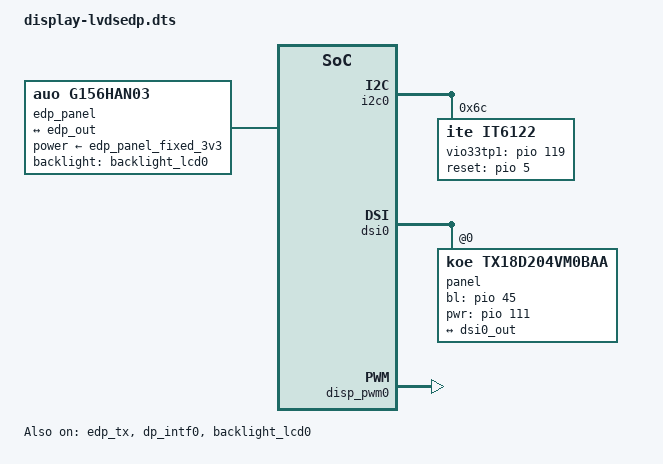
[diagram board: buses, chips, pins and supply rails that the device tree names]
/dts-v1/;
/plugin/;

#include <dt-bindings/pinctrl/mediatek,mt8188-pinfunc.h>
#include <dt-bindings/gpio/gpio.h>

/ {
	fragment@0 {
		target = <&i2c0>;
		__overlay__ {
			touchscreen@5d {
				status = "disabled";
			};
			
			it6122: it6122@6c {
				compatible = "ite,it6122";
				reg = <0x6c>;
				pinctrl-names = "default";
				pinctrl-0 = <&it6122_pins_default>;
				vio33tp1-gpio = <&pio 119 GPIO_ACTIVE_HIGH>;
				ite,reset-gpio = <&pio 5 GPIO_ACTIVE_HIGH>;
			};
		};
	};
	
	fragment@1 {
		target = <&dsi0>;
		__overlay__ {
			panel@0 {
				status = "disabled";
			};
			
			panel@1 {
				compatible = "koe,tx18d204vm0baa";
				status = "okay";
				reg = <0>;
				pinctrl-names = "default";
				pinctrl-0 = <&panel_pins_default>;
				bl-gpios = <&pio 45 GPIO_ACTIVE_HIGH>;
				pwr-gpios = <&pio 111 GPIO_ACTIVE_HIGH>;
				mediatek,it6122-attached;
				port {
					panel0_in: endpoint {
						remote-endpoint = <&dsi0_out>;
					};
				};
			};
		};
	};

	fragment@2 {
		target = <&lcm1_tp_avdd>;
		__overlay__ {
			status = "disabled";
		};
	};
	
	fragment@3 {
		target = <&edp_tx>;
		__overlay__ {
			pinctrl-names = "default";
			pinctrl-0 = <&edp_pin>;
			status = "okay";

			ports {
				#address-cells = <1>;
				#size-cells = <0>;

				port@0 {
					reg = <0>;
					edp_in: endpoint {
					remote-endpoint = <&dp_intf0_out>;
					};
				};

				port@1 {
					reg = <1>;
					edp_out: endpoint {
						remote-endpoint = <&panel_in>;
					};
				};
			};
		};
	};

	fragment@4 {
		target = <&dp_intf0>;
		__overlay__ {
			status = "okay";
			ports {
				port {
					dp_intf0_out: endpoint {
						remote-endpoint = <&edp_in>;
					};
				};
			};
		};
	};

	fragment@5 {
		target-path = "/";
		__overlay__ {
			edp_panel: panel {
				compatible = "auo,g156han03";
				power-supply = <&edp_panel_fixed_3v3>;
				backlight = <&backlight_lcd0>;
				width-mm = <350>;
				height-mm = <216>;
				status = "okay";

				port {
					panel_in: endpoint {
						remote-endpoint = <&edp_out>;
					};
				};
			};
		};
	};

	fragment@6 {
		target = <&edp_panel_fixed_3v3>;
		__overlay__ {
			regulator-state-mem {
				regulator-on-in-suspend;
			};
		};
	};

	fragment@7 {
		target = <&backlight_lcd0>;
		__overlay__ {
			default-on;
			power-supply = <&edp_panel_fixed_3v3>;
			enable-active-high;
			status = "okay";
		};
	};

	fragment@8 {
		target = <&disp_pwm0>;
		__overlay__ {
			status = "okay";
			pinctrl-names = "default";
			pinctrl-0 = <&disp_pwm0_pin_default>;
		};
	};

	fragment@9 {
		target = <&pio>;
		__overlay__ {
			it6122_pins_default: it6122_pins_default {
				pins-cmd-dat {
					pinmux = <PINMUX_GPIO119__FUNC_B_GPIO119>,
					<PINMUX_GPIO5__FUNC_B_GPIO5>;
					output-high;
				};
			};
		
			edp_pin: edp-pin-default {
				pins-cmd-dat {
					pinmux = <PINMUX_GPIO17__FUNC_I0_EDP_TX_HPD>;
					bias-pull-up;
				};
			};

			disp_pwm0_pin_default: disp-pwm0-pin-default {
				pins1 {
					pinmux = <PINMUX_GPIO29__FUNC_O_DISP_PWM0>;
				};
			};
		};
	};

	fragment@10 {
		target = <&dpi1>;
		__overlay__ {
			status = "disabled";
		};
	};

	fragment@11 {
		target = <&hdmi0>;
		__overlay__ {
			status = "disabled";
		};
	};

	fragment@12 {
		target = <&hdmi_phy>;
		__overlay__ {
			status = "disabled";
		};
	};

	fragment@13 {
		target = <&sound>;
		__overlay__ {
			dai-link-1 { /* HDMI */
				status = "disabled";
			};

			dai-link-2 { /* DPTX */
				status = "disabled";
			};
		};
	};
};
